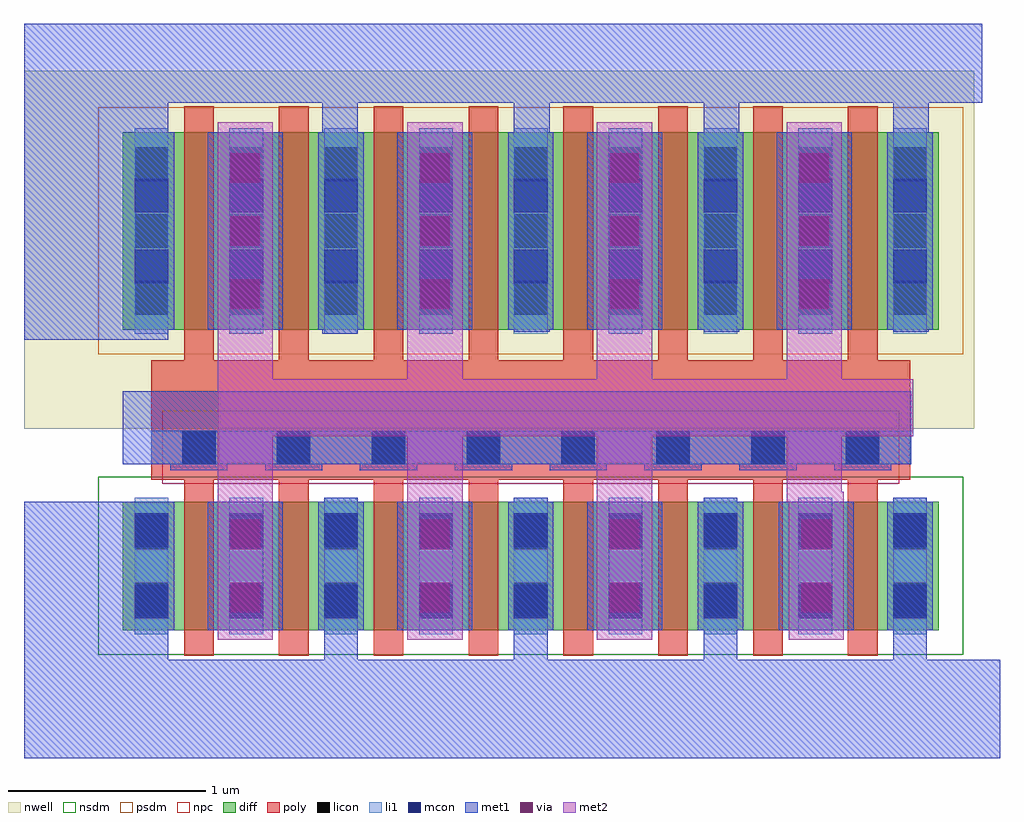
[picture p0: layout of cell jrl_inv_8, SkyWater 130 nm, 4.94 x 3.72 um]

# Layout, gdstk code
import gdstk
lib = gdstk.Library(unit=1e-6, precision=1e-09)
def R(c, l, rs):  # rectangles x0, y0, x1, y1
    for r in rs: c.add(gdstk.rectangle(r[:2], r[2:], *l))
def A(c, l, x, y, w, h, nx, ny, dx, dy):  # array of equal rectangles
    R(c, l, [(x+i*dx, y+j*dy, x+i*dx+w, y+j*dy+h) for i in range(nx) for j in range(ny)])
nwell = (64, 20)
diff = (65, 20)
poly = (66, 20)
licon = (66, 44)
li1 = (67, 20)
mcon = (67, 44)
met1 = (68, 20)
via = (68, 44)
met2 = (69, 20)
nsdm = (93, 44)
psdm = (94, 20)
npc = (95, 20)

sky130_fd_pr__nfet_01v8_ = lib.new_cell('sky130_fd_pr__nfet_01v8_H4UF8J')
R(sky130_fd_pr__nfet_01v8_, diff, [(-2.065,-0.48,2.065,0.17)])
A(sky130_fd_pr__nfet_01v8_, poly, -1.755, -0.61, 0.15, 0.89, 8, 1, 0.48, 0)
R(sky130_fd_pr__nfet_01v8_, poly, [(-1.92,0.28,1.92,0.61)])
A(sky130_fd_pr__nfet_01v8_, licon, -2.005, -0.41, 0.17, 0.17, 9, 2, 0.48, 0.34)
A(sky130_fd_pr__nfet_01v8_, licon, -1.765, 0.36, 0.17, 0.17, 8, 1, 0.48, 0)
A(sky130_fd_pr__nfet_01v8_, li1, -2.005, -0.5, 0.17, 0.69, 9, 1, 0.48, 0)
R(sky130_fd_pr__nfet_01v8_, li1, [(-1.92,0.36,1.92,0.53)])
A(sky130_fd_pr__nfet_01v8_, mcon, -2.005, -0.42, 0.17, 0.17, 9, 2, 0.48, 0.36)
A(sky130_fd_pr__nfet_01v8_, mcon, -1.765, 0.36, 0.17, 0.17, 8, 1, 0.48, 0)
A(sky130_fd_pr__nfet_01v8_, met1, -2.035, -0.48, 0.23, 0.65, 9, 1, 0.48, 0)
A(sky130_fd_pr__nfet_01v8_, met1, -1.825, 0.33, 0.29, 0.03, 8, 2, 0.48, 0.2)
R(sky130_fd_pr__nfet_01v8_, met1, [(-1.92,0.36,1.92,0.53)])
R(sky130_fd_pr__nfet_01v8_, nsdm, [(-2.19,-0.605,2.19,0.295)])
R(sky130_fd_pr__nfet_01v8_, npc, [(-1.865,0.26,1.865,0.63)])
sky130_fd_pr__nfet_01v8_.add(gdstk.Label('S7', (1.44,-0.155), layer=67, texttype=5))
sky130_fd_pr__nfet_01v8_.add(gdstk.Label('D6', (0.96,-0.155), layer=67, texttype=5))
sky130_fd_pr__nfet_01v8_.add(gdstk.Label('S5', (0.48,-0.155), layer=67, texttype=5))
sky130_fd_pr__nfet_01v8_.add(gdstk.Label('S3', (-0.48,-0.155), layer=67, texttype=5))
sky130_fd_pr__nfet_01v8_.add(gdstk.Label('D2', (-0.96,-0.155), layer=67, texttype=5))
sky130_fd_pr__nfet_01v8_.add(gdstk.Label('S1', (-1.44,-0.155), layer=67, texttype=5))
sky130_fd_pr__nfet_01v8_.add(gdstk.Label('D4', (0,-0.155), layer=67, texttype=5))
sky130_fd_pr__nfet_01v8_.add(gdstk.Label('G', (-1.68,0.445), layer=67, texttype=5))
sky130_fd_pr__nfet_01v8_.add(gdstk.Label('G', (-1.2,0.445), layer=67, texttype=5))
sky130_fd_pr__nfet_01v8_.add(gdstk.Label('G', (-0.72,0.445), layer=67, texttype=5))
sky130_fd_pr__nfet_01v8_.add(gdstk.Label('G', (-0.24,0.445), layer=67, texttype=5))
sky130_fd_pr__nfet_01v8_.add(gdstk.Label('G', (0.24,0.445), layer=67, texttype=5))
sky130_fd_pr__nfet_01v8_.add(gdstk.Label('G', (0.72,0.445), layer=67, texttype=5))
sky130_fd_pr__nfet_01v8_.add(gdstk.Label('G', (1.2,0.445), layer=67, texttype=5))
sky130_fd_pr__nfet_01v8_.add(gdstk.Label('G', (1.68,0.445), layer=67, texttype=5))
sky130_fd_pr__nfet_01v8_.add(gdstk.Label('D0', (-1.92,-0.155), layer=67, texttype=5))

sky130_fd_pr__pfet_01v8_ = lib.new_cell('sky130_fd_pr__pfet_01v8_EEN6JW')
R(sky130_fd_pr__pfet_01v8_, nwell, [(-2.245,-0.82,2.245,0.99)])
R(sky130_fd_pr__pfet_01v8_, diff, [(-2.065,-0.32,2.065,0.68)])
A(sky130_fd_pr__pfet_01v8_, poly, -1.755, -0.475, 0.15, 1.285, 8, 1, 0.48, 0)
R(sky130_fd_pr__pfet_01v8_, poly, [(-1.92,-0.805,1.92,-0.475)])
A(sky130_fd_pr__pfet_01v8_, licon, -2.005, -0.245, 0.17, 0.17, 9, 3, 0.48, 0.34)
A(sky130_fd_pr__pfet_01v8_, li1, -2.005, -0.34, 0.17, 1.04, 9, 1, 0.48, 0)
A(sky130_fd_pr__pfet_01v8_, mcon, -2.005, -0.085, 0.17, 0.17, 9, 2, 0.48, 0.36)
A(sky130_fd_pr__pfet_01v8_, met1, -2.035, -0.32, 0.23, 1, 9, 1, 0.48, 0)
R(sky130_fd_pr__pfet_01v8_, psdm, [(-2.19,-0.445,2.19,0.805)])
sky130_fd_pr__pfet_01v8_.add(gdstk.Label('S7', (1.44,0.18), layer=67, texttype=5))
sky130_fd_pr__pfet_01v8_.add(gdstk.Label('D6', (0.96,0.18), layer=67, texttype=5))
sky130_fd_pr__pfet_01v8_.add(gdstk.Label('S5', (0.48,0.18), layer=67, texttype=5))
sky130_fd_pr__pfet_01v8_.add(gdstk.Label('D4', (0,0.18), layer=67, texttype=5))
sky130_fd_pr__pfet_01v8_.add(gdstk.Label('S3', (-0.48,0.18), layer=67, texttype=5))
sky130_fd_pr__pfet_01v8_.add(gdstk.Label('D2', (-0.96,0.18), layer=67, texttype=5))
sky130_fd_pr__pfet_01v8_.add(gdstk.Label('S1', (-1.44,0.18), layer=67, texttype=5))
sky130_fd_pr__pfet_01v8_.add(gdstk.Label('D0', (-1.92,0.18), layer=67, texttype=5))
sky130_fd_pr__pfet_01v8_.add(gdstk.Label('G', (-1.68,-0.64), layer=66, texttype=5))
sky130_fd_pr__pfet_01v8_.add(gdstk.Label('G', (-1.2,-0.64), layer=66, texttype=5))
sky130_fd_pr__pfet_01v8_.add(gdstk.Label('G', (-0.72,-0.64), layer=66, texttype=5))
sky130_fd_pr__pfet_01v8_.add(gdstk.Label('G', (-0.24,-0.64), layer=66, texttype=5))
sky130_fd_pr__pfet_01v8_.add(gdstk.Label('G', (0.24,-0.64), layer=66, texttype=5))
sky130_fd_pr__pfet_01v8_.add(gdstk.Label('G', (0.72,-0.64), layer=66, texttype=5))
sky130_fd_pr__pfet_01v8_.add(gdstk.Label('G', (1.2,-0.64), layer=66, texttype=5))
sky130_fd_pr__pfet_01v8_.add(gdstk.Label('G', (1.68,-0.64), layer=66, texttype=5))

jrl_inv_8 = lib.new_cell('jrl_inv_8')
R(jrl_inv_8, nwell, [(-0.5,1.15,-0.14,2.96)])
R(jrl_inv_8, li1, [(0.06,0.19,0.23,0.72)])
R(jrl_inv_8, mcon, [(0.06,0.19,0.23,0.36), (0.06,0.55,0.23,0.72)])
A(jrl_inv_8, met1, 1.02, -0.02, 0.17, 0.82, 4, 1, 0.96, 0)
A(jrl_inv_8, met1, 0.43, 0.13, 0.38, 0.65, 3, 1, 0.96, 0)
A(jrl_inv_8, met1, 1.98, 1.64, 0.18, 1.16, 3, 1, 0.96, 0)
A(jrl_inv_8, met1, 0.43, 1.65, 0.38, 1, 4, 1, 0.96, 0)
R(jrl_inv_8, met1, [(-0.5,-0.52,4.44,-0.02), (-0.5,-0.02,0.23,0.78), (3.32,0.13,3.7,0.78), (0,0.97,3.99,1.34), (-0.5,1.6,0.23,2.63), (1.01,1.63,1.19,2.8), (-0.5,2.63,0.26,2.65), (-0.5,2.65,0.23,2.8), (-0.5,2.8,4.35,3.2)])
A(jrl_inv_8, via, 0.545, 0.22, 0.15, 0.15, 3, 2, 0.96, 0.32)
A(jrl_inv_8, via, 0.545, 1.755, 0.15, 0.15, 4, 3, 0.96, 0.32)
R(jrl_inv_8, via, [(3.435,0.22,3.585,0.37), (3.435,0.54,3.585,0.69)])
A(jrl_inv_8, met2, 0.48, 0.08, 0.28, 1.03, 3, 1, 0.96, 0)
A(jrl_inv_8, met2, 0.48, 1.4, 0.28, 1.3, 4, 1, 0.96, 0)
R(jrl_inv_8, met2, [(3.37,0.08,3.65,0.78), (3.36,0.78,3.65,0.83), (3.36,0.83,3.64,1.11), (0.48,1.11,4,1.4)])
jrl_inv_8.add(gdstk.Reference(sky130_fd_pr__nfet_01v8_, (2.065,0.61)))
jrl_inv_8.add(gdstk.Reference(sky130_fd_pr__pfet_01v8_, (2.065,1.97)))

lib.write_gds('jrl_inv_8.gds')
